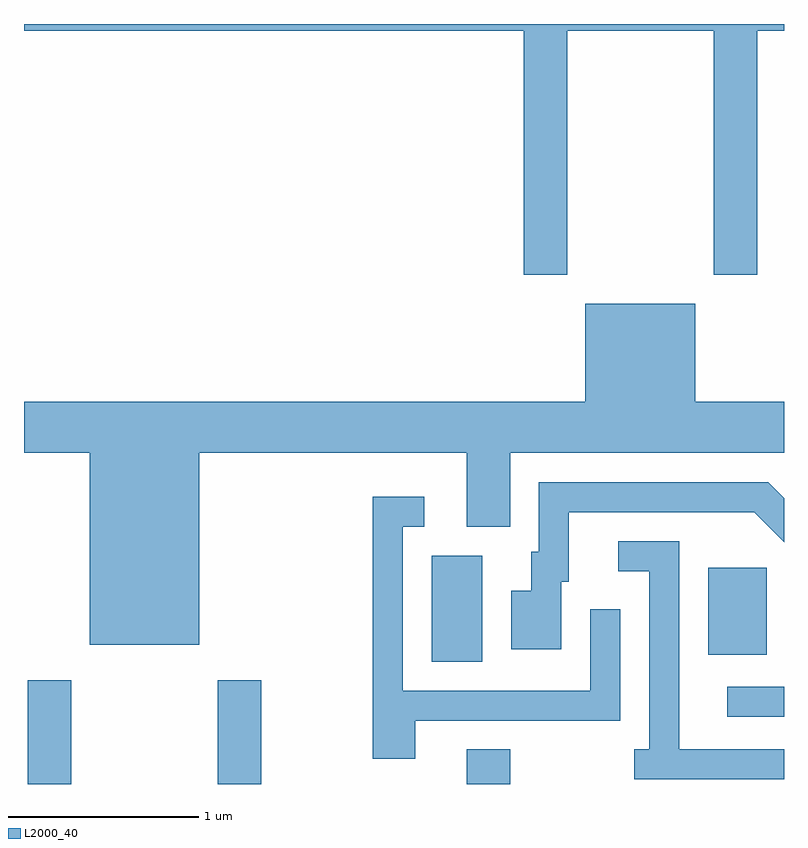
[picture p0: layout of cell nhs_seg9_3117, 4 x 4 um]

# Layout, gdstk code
import gdstk
lib = gdstk.Library(unit=1e-6, precision=1e-09)
def R(c, l, rs):  # rectangles x0, y0, x1, y1
    for r in rs: c.add(gdstk.rectangle(r[:2], r[2:], *l))
def P(c, l, *ps):  # polygons
    for p in ps: c.add(gdstk.Polygon(p, *l))
L2000_40 = (2000, 40)

nhs_seg9_3117 = lib.new_cell('nhs_seg9_3117')
R(nhs_seg9_3117, L2000_40, [(275.631,2074.432,275.859,2074.979), (276.631,2074.432,276.859,2074.979), (277.941,2074.432,278.169,2074.614), (279.313,2074.786,279.611,2074.944), (277.756,2075.076,278.024,2075.634), (279.211,2075.111,279.519,2075.569)])
P(nhs_seg9_3117, L2000_40, [(278.469,2078.396),(279.241,2078.396),(279.241,2077.111),(279.469,2077.111),(279.469,2078.396),(279.611,2078.396),(279.611,2078.432),(275.611,2078.432),(275.611,2078.396),(278.241,2078.396),(278.241,2077.111),(278.469,2077.111)],
  [(276.534,2076.176),(277.941,2076.176),(277.941,2075.786),(278.169,2075.786),(278.169,2076.176),(279.611,2076.176),(279.611,2076.444),(279.144,2076.444),(279.144,2076.959),(278.566,2076.959),(278.566,2076.444),(275.611,2076.444),(275.611,2076.176),(275.956,2076.176),(275.956,2075.166),(276.534,2075.166)],
  [(278.439,2075.496),(278.479,2075.496),(278.479,2075.861),(279.454,2075.861),(279.611,2075.704),(279.611,2075.935),(279.527,2076.019),(278.321,2076.019),(278.321,2075.654),(278.281,2075.654),(278.281,2075.449),(278.176,2075.449),(278.176,2075.141),(278.439,2075.141)],
  [(277.669,2074.766),(278.749,2074.766),(278.749,2075.353),(278.591,2075.353),(278.591,2074.924),(277.604,2074.924),(277.604,2075.786),(277.718,2075.786),(277.718,2075.944),(277.446,2075.944),(277.446,2074.566),(277.669,2074.566)],
  [(279.611,2074.614),(279.059,2074.614),(279.059,2075.709),(278.738,2075.709),(278.738,2075.551),(278.901,2075.551),(278.901,2074.614),(278.823,2074.614),(278.823,2074.456),(279.611,2074.456)])

lib.write_gds('nhs_seg9_3117.gds')
